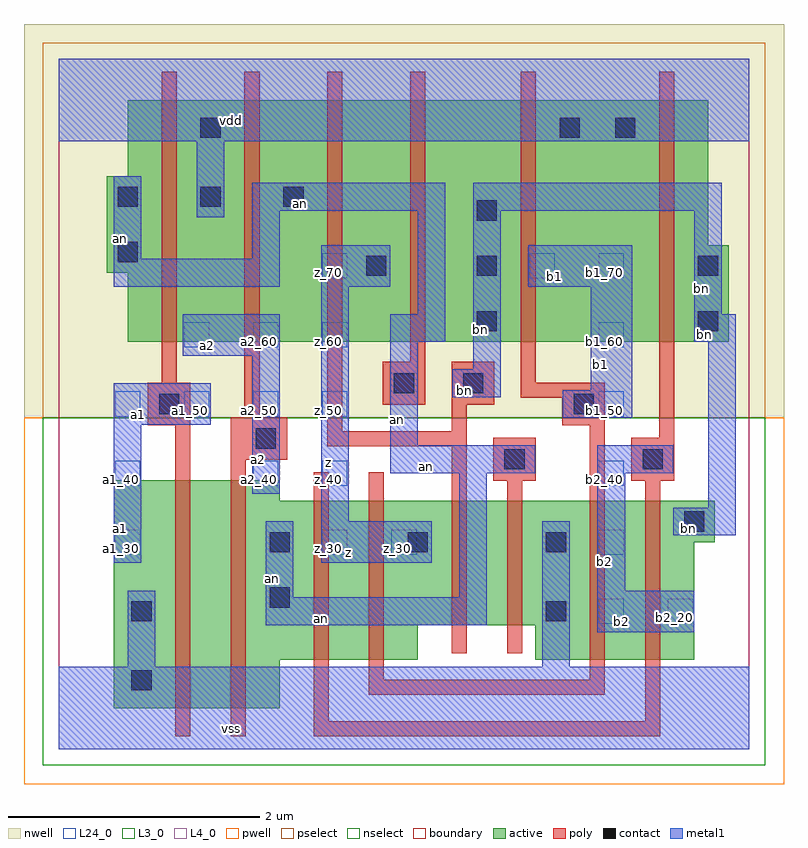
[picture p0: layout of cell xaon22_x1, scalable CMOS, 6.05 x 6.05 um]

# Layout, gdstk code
import gdstk
lib = gdstk.Library(unit=1e-6, precision=2.5e-09)
def R(c, l, rs):  # rectangles x0, y0, x1, y1
    for r in rs: c.add(gdstk.rectangle(r[:2], r[2:], *l))
def A(c, l, x, y, w, h, nx, ny, dx, dy):  # array of equal rectangles
    R(c, l, [(x+i*dx, y+j*dy, x+i*dx+w, y+j*dy+h) for i in range(nx) for j in range(ny)])
L3_0 = (3, 0)
L4_0 = (4, 0)
L24_0 = (24, 0)
contact = (25, 0)
pwell = (41, 0)
nwell = (42, 0)
active = (43, 0)
pselect = (44, 0)
nselect = (45, 0)
poly = (46, 0)
metal1 = (49, 0)
boundary = (63, 0)

xaon22_x1 = lib.new_cell('xaon22_x1')
R(xaon22_x1, L3_0, [(0.44,0.33,1.76,0.715), (0.44,0.715,2.86,0.99), (3.795,0.715,5.06,0.99), (0.44,0.99,5.06,1.65), (0.44,1.65,5.225,1.98), (0.44,1.98,1.76,2.145)])
R(xaon22_x1, L4_0, [(0.55,3.245,5.335,3.795), (0.385,3.795,5.335,4.015), (0.385,4.015,5.17,4.565), (0.55,4.565,5.17,5.17)])
A(xaon22_x1, L24_0, 4.3, 1, 0.2, 0.2, 1, 6, 0, 0.55)
A(xaon22_x1, L24_0, 0.45, 2.65, 0.2, 0.2, 4, 1, 0.55, 0)
A(xaon22_x1, L24_0, 1, 3.2, 0.2, 0.2, 3, 1, 0.55, 0)
R(xaon22_x1, L24_0, [(4.85,1,5.05,1.2), (0.45,1.55,0.65,1.75), (2.1,1.55,2.3,1.75), (2.65,1.55,2.85,1.75), (0.45,2.1,0.65,2.3), (1.55,2.1,1.75,2.3), (2.1,2.1,2.3,2.3), (2.1,3.75,2.3,3.95), (3.75,3.75,3.95,3.95)])
A(xaon22_x1, contact, 1.68, 1.57, 0.16, 0.16, 3, 1, 1.1, 0)
A(xaon22_x1, contact, 3.33, 3.33, 0.16, 0.16, 1, 3, 0, 0.44)
A(xaon22_x1, contact, 0.47, 4.32, 0.16, 0.16, 3, 1, 0.66, 0)
R(xaon22_x1, contact, [(0.58,0.47,0.74,0.63), (0.58,1.02,0.74,1.18), (3.88,1.02,4.04,1.18), (1.68,1.13,1.84,1.29), (4.98,1.735,5.14,1.895), (3.55,2.23,3.71,2.39), (4.65,2.23,4.81,2.39), (1.57,2.395,1.73,2.555), (0.8,2.67,0.96,2.83), (4.1,2.67,4.26,2.83), (2.67,2.835,2.83,2.995), (3.22,2.835,3.38,2.995), (5.09,3.33,5.25,3.49), (2.45,3.77,2.61,3.93), (5.09,3.77,5.25,3.93), (0.47,3.88,0.63,4.04), (1.13,4.87,1.29,5.03), (3.99,4.87,4.15,5.03), (4.43,4.87,4.59,5.03)])
R(xaon22_x1, pwell, [(-0.275,-0.275,5.775,2.64)])
R(xaon22_x1, nwell, [(-0.275,2.64,5.775,5.775)])
R(xaon22_x1, active, [(0.44,0.33,1.76,0.715), (0.44,0.715,2.86,0.99), (3.795,0.715,5.06,0.99), (0.44,0.99,5.06,1.65), (0.44,1.65,5.225,1.98), (0.44,1.98,1.76,2.145), (0.55,3.245,5.335,3.795), (0.385,3.795,5.335,4.015), (0.385,4.015,5.17,4.565), (0.55,4.565,5.17,5.17)])
R(xaon22_x1, pselect, [(-0.125,2.64,5.625,5.625)])
R(xaon22_x1, nselect, [(-0.125,-0.125,5.625,2.64)])
R(xaon22_x1, poly, [(0.93,0.105,1.05,2.58), (1.37,0.105,1.49,2.305), (2.03,0.105,4.79,0.225), (2.03,0.225,2.15,2.205), (4.67,0.225,4.79,2.14), (2.47,0.435,4.35,0.555), (2.47,0.555,2.59,2.205), (4.23,0.555,4.35,2.58), (3.13,0.765,3.25,2.415), (3.57,0.765,3.69,2.14), (3.46,2.14,3.8,2.48), (4.56,2.14,4.9,2.48), (1.37,2.305,1.82,2.645), (2.14,2.415,3.25,2.535), (4.78,2.48,4.9,5.395), (2.14,2.535,2.26,5.395), (3.13,2.535,3.25,2.745), (0.71,2.58,1.05,2.92), (4.01,2.58,4.35,2.8), (1.48,2.645,1.6,5.395), (2.58,2.745,2.92,3.085), (3.13,2.745,3.47,3.085), (3.68,2.8,4.35,2.92), (0.82,2.92,0.94,5.395), (3.68,2.92,3.8,5.395), (2.8,3.085,2.92,5.395)])
R(xaon22_x1, metal1, [(0,0,5.5,0.66), (0.55,0.66,0.77,1.265), (3.85,0.66,4.07,1.815), (4.29,0.935,5.06,1.265), (1.65,0.99,3.41,1.21), (1.65,1.21,1.87,1.815), (3.19,1.21,3.41,2.2), (4.29,1.265,4.51,2.2), (0.44,1.485,0.66,2.585), (2.09,1.485,2.97,1.815), (4.895,1.705,5.39,1.925), (2.09,1.815,2.31,3.685), (5.17,1.925,5.39,3.245), (1.54,2.035,1.76,3.135), (2.64,2.2,3.795,2.42), (4.29,2.2,4.895,2.42), (2.64,2.42,2.86,3.245), (0.44,2.585,1.21,2.915), (4.015,2.64,4.565,2.86), (3.135,2.805,3.52,3.025), (4.235,2.86,4.565,3.685), (3.3,3.025,3.52,4.29), (0.99,3.135,1.76,3.465), (2.64,3.245,3.08,3.465), (5.06,3.245,5.39,3.465), (2.86,3.465,3.08,4.29), (5.06,3.465,5.28,4.29), (0.44,3.685,1.76,3.905), (2.09,3.685,2.64,4.015), (3.74,3.685,4.565,4.015), (0.44,3.905,0.66,4.565), (1.54,3.905,1.76,4.29), (1.1,4.235,1.32,4.84), (1.54,4.29,3.08,4.51), (3.3,4.29,5.28,4.51), (0,4.84,5.5,5.5)])
R(xaon22_x1, boundary, [(0,0,5.5,5.5)])
xaon22_x1.add(gdstk.Label('vss', (1.375,0.165), layer=49, texttype=0))
xaon22_x1.add(gdstk.Label('b2', (4.4825,1.0175), layer=49, texttype=0))
xaon22_x1.add(gdstk.Label('bn', (5.0175,1.76), layer=49, texttype=0))
xaon22_x1.add(gdstk.Label('b2', (4.345,1.4975), layer=49, texttype=0))
xaon22_x1.add(gdstk.Label('an', (2.09,1.045), layer=49, texttype=0))
xaon22_x1.add(gdstk.Label('z', (2.31,1.5675), layer=49, texttype=0))
xaon22_x1.add(gdstk.Label('an', (1.705,1.36), layer=49, texttype=0))
xaon22_x1.add(gdstk.Label('an', (2.9275,2.255), layer=49, texttype=0))
xaon22_x1.add(gdstk.Label('bn', (5.1425,3.3), layer=49, texttype=0))
xaon22_x1.add(gdstk.Label('bn', (5.115,3.67), layer=49, texttype=0))
xaon22_x1.add(gdstk.Label('b1', (4.3175,3.065), layer=49, texttype=0))
xaon22_x1.add(gdstk.Label('bn', (3.23,2.86), layer=49, texttype=0))
xaon22_x1.add(gdstk.Label('b1', (3.945,3.7675), layer=49, texttype=0))
xaon22_x1.add(gdstk.Label('bn', (3.355,3.34), layer=49, texttype=0))
xaon22_x1.add(gdstk.Label('an', (2.695,2.625), layer=49, texttype=0))
xaon22_x1.add(gdstk.Label('z', (2.145,2.2825), layer=49, texttype=0))
xaon22_x1.add(gdstk.Label('a2', (1.595,2.31), layer=49, texttype=0))
xaon22_x1.add(gdstk.Label('a1', (0.495,1.76), layer=49, texttype=0))
xaon22_x1.add(gdstk.Label('a1', (0.6325,2.6675), layer=49, texttype=0))
xaon22_x1.add(gdstk.Label('a2', (1.1825,3.2175), layer=49, texttype=0))
xaon22_x1.add(gdstk.Label('an', (1.925,4.345), layer=49, texttype=0))
xaon22_x1.add(gdstk.Label('an', (0.495,4.07), layer=49, texttype=0))
xaon22_x1.add(gdstk.Label('vdd', (1.375,5.005), layer=49, texttype=0))
xaon22_x1.add(gdstk.Label('b1_70', (4.35,3.8), layer=24, texttype=0))
xaon22_x1.add(gdstk.Label('b1_60', (4.35,3.25), layer=24, texttype=0))
xaon22_x1.add(gdstk.Label('b2_40', (4.35,2.15), layer=24, texttype=0))
xaon22_x1.add(gdstk.Label('b2_30', (4.35,1.6), layer=24, texttype=0))
xaon22_x1.add(gdstk.Label('b2_20', (4.35,1.05), layer=24, texttype=0))
xaon22_x1.add(gdstk.Label('z_30', (2.7,1.6), layer=24, texttype=0))
xaon22_x1.add(gdstk.Label('a2_40', (1.6,2.15), layer=24, texttype=0))
xaon22_x1.add(gdstk.Label('a2_50', (1.6,2.7), layer=24, texttype=0))
xaon22_x1.add(gdstk.Label('a2_60', (1.05,3.25), layer=24, texttype=0))
xaon22_x1.add(gdstk.Label('z_30', (2.15,1.6), layer=24, texttype=0))
xaon22_x1.add(gdstk.Label('z_60', (2.15,3.25), layer=24, texttype=0))
xaon22_x1.add(gdstk.Label('z_50', (2.15,2.7), layer=24, texttype=0))
xaon22_x1.add(gdstk.Label('z_40', (2.15,2.15), layer=24, texttype=0))
xaon22_x1.add(gdstk.Label('a2_60', (1.6,3.25), layer=24, texttype=0))
xaon22_x1.add(gdstk.Label('a1_40', (0.5,2.15), layer=24, texttype=0))
xaon22_x1.add(gdstk.Label('a1_30', (0.5,1.6), layer=24, texttype=0))
xaon22_x1.add(gdstk.Label('b2_20', (4.9,1.05), layer=24, texttype=0))
xaon22_x1.add(gdstk.Label('z_70', (2.15,3.8), layer=24, texttype=0))
xaon22_x1.add(gdstk.Label('a1_50', (1.05,2.7), layer=24, texttype=0))
xaon22_x1.add(gdstk.Label('a1_50', (0.5,2.7), layer=24, texttype=0))
xaon22_x1.add(gdstk.Label('b1_50', (4.35,2.7), layer=24, texttype=0))
xaon22_x1.add(gdstk.Label('b1_70', (3.8,3.8), layer=24, texttype=0))

lib.write_gds('xaon22_x1.gds')
